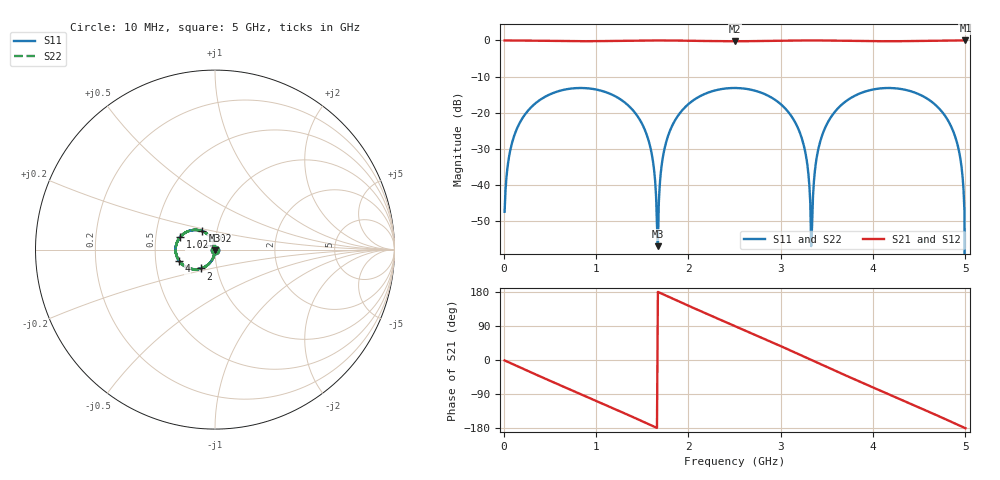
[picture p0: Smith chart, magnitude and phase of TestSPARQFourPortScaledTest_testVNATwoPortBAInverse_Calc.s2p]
# MHz MA S R 50.0
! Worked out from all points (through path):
!   500 points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, 10 MHz to 5 GHz, reference 50 ohm
!   highest |S21| = 0.00 dB at 5 GHz (marker M1); lowest = -0.2 dB at 2.5 GHz (marker M2)
!   group delay of S21, straight-line fit = 300 ps
!   lowest |S11| = -57.0 dB at 1.67 GHz (marker M3), VSWR 1.00, Z = 50 - j0.141 ohm
!   |S11| at or under -10 dB: start of sweep to end of sweep
!   |S22| runs from - to -13.2 dB; largest |S21 - S12| = 6.5e-06
!   S11 on the Smith chart (normalised r, x): 10 MHz: 1.00, -0.01; 1.02 GHz: 0.67, +0.10; 2 GHz: 0.84, -0.18; 3.02 GHz: 0.85, +0.18; 4 GHz: 0.66, -0.09; 5 GHz: 1.00, +0.00
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10  0.004241 -91.1  1 -1.1  1 -1.1  0.004241 -91.1
80  0.03378 -98.9  0.9994 -8.9  0.9994 -8.9  0.03378 -98.9
220  0.09029 -114.3  0.9959 -24.3  0.9959 -24.3  0.09029 -114.3
850  0.2194 178.2  0.9756 -91.8  0.9756 -91.8  0.2194 178.2
1020  0.2067 160.3  0.9784 -109.7  0.9784 -109.7  0.2067 160.3
1500  0.06936 108.4  0.9976 -161.6  0.9976 -161.6  0.06936 108.4
1670  0.001414 -90.4  1 179.6  1 179.6  0.001414 -90.4
1680  0.005654 -91.5  1 178.5  1 178.5  0.005654 -91.5
1770  0.04351 -101.4  0.9991 168.6  0.999 168.6  0.04351 -101.4
2000  0.1311 -126.7  0.9914 143.3  0.9914 143.3  0.1311 -126.7
2500  0.2195 -180.0  0.9756 90.0  0.9756 90.0  0.2195 -180.0
2510  0.2195 178.9  0.9756 88.9  0.9756 88.9  0.2195 178.9
3020  0.1243 124.5  0.9922 34.5  0.9922 34.5  0.1243 124.5
3240  0.03935 100.3  0.9992 10.3  0.9992 10.3  0.03935 100.3
3340  0.002827 -90.7  1 -0.7  1 -0.7  0.002827 -90.7
3400  0.02819 -97.4  0.9996 -7.4  0.9996 -7.4  0.02819 -97.4
3500  0.06936 -108.4  0.9976 -18.4  0.9976 -18.4  0.06936 -108.4
4000  0.2093 -162.4  0.9779 -72.4  0.9779 -72.4  0.2093 -162.4
4170  0.2195 179.6  0.9756 -90.4  0.9756 -90.4  0.2195 179.6
4860  0.05859 105.5  0.9983 -164.5  0.9983 -164.5  0.05859 105.5
4960  0.01695 94.4  0.9999 -175.6  0.9999 -175.6  0.01695 94.4
5000  0 -180.0  1 -180.0  1 -180.0  0 -180.0
